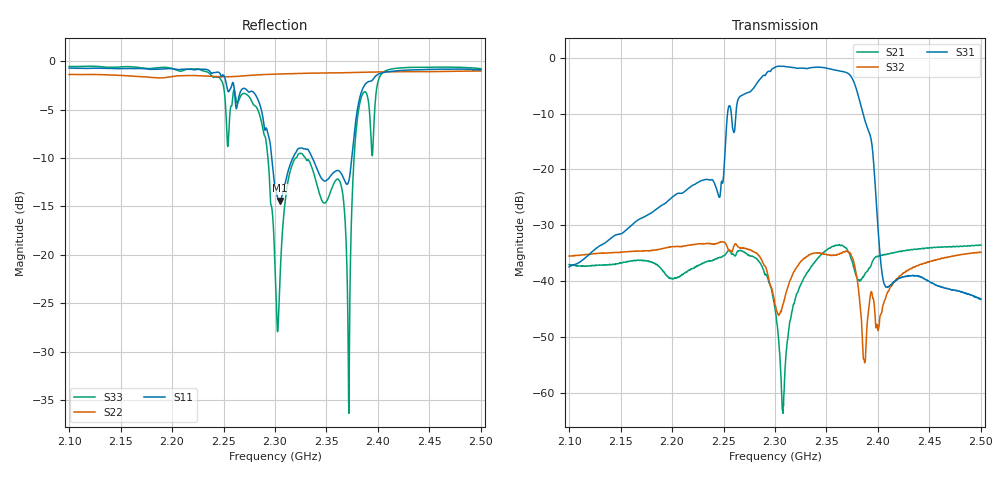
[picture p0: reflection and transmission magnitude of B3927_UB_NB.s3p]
! Matrix data file written by TouchstoneData, EPCOS AG
! FILENAME: "B3927_UB_NB.s3p"
! COMMENT: "unmatched SDARS narrowband"
! INFO: nport=3, nfreq=1601
! DATE: "Thu Jul 12 14:02:24 2012"
! USER: "Daniel Harbusch"
! port | pin | signal
!  1  |  2  |  Input
!  2  |  4  |  GPS/GLONASS Output
!  3  |  6  |  SDARS Output
# MHZ S MA R 50
! freq  magS11 angS11  magS12 angS12  magS13 angS13  ...
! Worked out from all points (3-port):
!   1601 points, 2.1 GHz to 2.5 GHz, reference 50 ohm
!   strongest paths, dB at 2.1 GHz, 2.2 GHz, 2.3 GHz, 2.4 GHz, 2.5 GHz:
!     S31: -37.4, -25.0, -1.7, -30.3, -43.2
!     S32: -35.5, -33.8, -44.2, -48.5, -34.8
!     S21: -37.0, -39.5, -45.0, -35.5, -33.5
!   lowest |S11| = -14.4 dB at 2.304 GHz (marker M1), VSWR 1.47, Z = 34.7 - j5.13 ohm
!   |S11| at or under -10 dB: 2.297 GHz to 2.317 GHz (20.58 MHz wide, 0.892 % of centre); 2.336 GHz to 2.375 GHz (38.21 MHz wide, 1.62 % of centre)
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2100  0.9202 -130.4  0.01417 138.2  0.01343 130.7
      0.01412 137.9  0.8524 -103.2  0.01687 164.8
      0.01345 130.7  0.01686 164.9  0.9385 -107.4
2263.75  0.6086 -159.0  0.01862 124.8  0.4122 136.1
         0.01867 124.8  0.8344 -108.1  0.02036 127.1
         0.4125 136.1  0.02043 127.1  0.6095 -154.9
2300  0.226 176.4  0.005618 61.9  0.8177 29.5
      0.005608 61.7  0.8562 -109.6  0.006173 107.4
      0.8184 29.6  0.006165 107.0  0.08735 90.4
2304.5  0.1903 -158.0  0.002304 63.6  0.8371 15.0
        0.002322 64.1  0.858 -109.8  0.005121 140.8
        0.8382 15.1  0.005121 140.7  0.06817 -40.9
2342  0.2681 -133.8  0.01628 178.3  0.8208 -83.1
      0.01629 178.3  0.8678 -111.7  0.01796 145.5
      0.8213 -83.0  0.01796 145.6  0.2179 139.8
2366.75  0.2475 -94.5  0.02044 140.4  0.7472 -172.8
         0.02052 140.5  0.8714 -113.0  0.01842 124.6
         0.7479 -172.7  0.01841 124.6  0.1864 -51.9
2371.75  0.2411 -69.5  0.01815 130.4  0.7129 159.4
         0.0181 130.6  0.8723 -113.3  0.01817 110.4
         0.7134 159.5  0.01817 110.5  0.01521 177.3
2386.75  0.7461 -72.8  0.01132 158.6  0.2857 61.7
         0.01137 158.6  0.8751 -114.0  0.001937 120.4
         0.2859 61.8  0.00198 119.6  0.6933 -3.9
2407.25  0.8772 -96.4  0.01737 157.3  0.008971 -149.2
         0.01734 157.5  0.8803 -115.1  0.006975 -170.6
         0.008984 -149.0  0.006981 -170.3  0.8901 -26.3
2500  0.9014 -122.3  0.02105 143.8  0.006919 138.2
      0.02104 143.7  0.8887 -120.1  0.01818 167.7
      0.006918 138.3  0.01817 167.9  0.9131 -81.9
